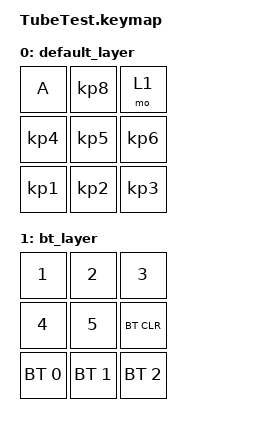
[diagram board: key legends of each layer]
#include <behaviors.dtsi>
#include <dt-bindings/zmk/bt.h>
#include <dt-bindings/zmk/keys.h>

/ {
    keymap {
        compatible = "zmk,keymap";

        default_layer {
            bindings = <
&kp A      &kp KP_N8  &mo 1
&kp KP_N4  &kp KP_N5  &kp KP_N6
&kp KP_N1  &kp KP_N2  &kp KP_N3
            >;
        };

        bt_layer {
            bindings = <
&kp N1        &kp N2        &kp N3
&kp N4        &kp N5        &bt BT_CLR
&bt BT_SEL 0  &bt BT_SEL 1  &bt BT_SEL 2
            >;
        };
    };
};
